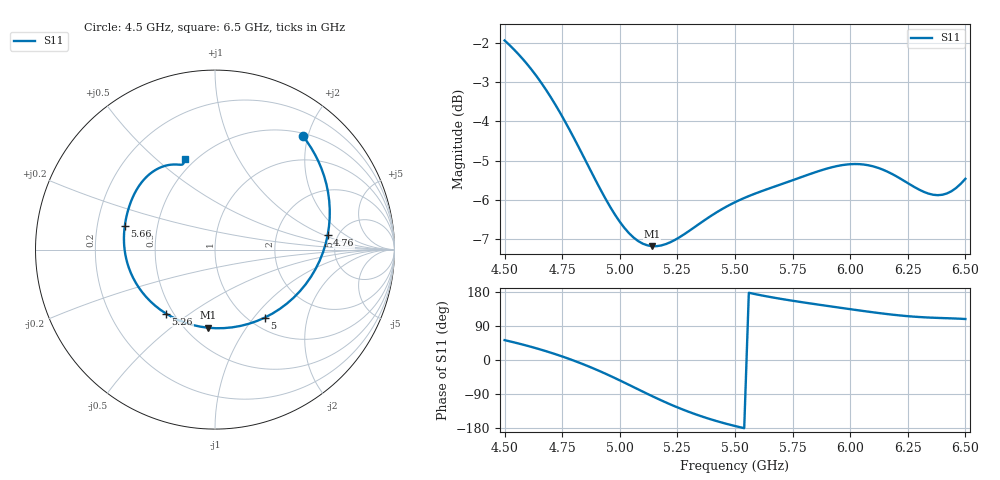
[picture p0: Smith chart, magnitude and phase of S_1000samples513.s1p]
! TOUCHSTONE file generated by CST MICROWAVE STUDIO
! Date and time: Fri Oct 28 10:30:23 2022
! Project name: L.cst
! Parameters = {Di=1.27; Epsilon_r=1.56; InnerDiameter=1.27; Length=2; Lf=10; Lg=60; OuterConductorThickness=0.2921; OuterDiameter=3.6; Wf=3; Wp=41.2; de=1.5; df=6.8; g=0.8; gx=2.95848; gy=0.876153; h=2.34; hf=1.524; px=12.895; py=10.3779; w=9.7; wx=9.93654; wy=9.50173}
! Header version: 2018
! Port assignment regex: !\s*Touchstone port\s*([0-9]+)\s*=\s*(CST MWS port|CST DS port)\s*([0-9]+|Zmin|Zmax)\s*\(\"(.*)\"\)(\s*mode\s*([0-9]+))?.*
! Touchstone port assignment:
! Touchstone port 1 = CST MWS port 1 ("")
# GHz S DB R 50
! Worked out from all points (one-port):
!   101 points, 4.5 GHz to 6.5 GHz, reference 50 ohm
!   lowest |S11| = -7.2 dB at 5.14 GHz (marker M1), VSWR 2.55, Z = 31.8 - j34.3 ohm
!   |S11| at or under -10 dB: nowhere
!   S11 on the Smith chart (normalised r, x): 4.5 GHz: 0.54, +1.91; 4.76 GHz: 4.14, +1.10; 5 GHz: 1.17, -1.14; 5.26 GHz: 0.46, -0.41; 5.66 GHz: 0.32, +0.11; 6.5 GHz: 0.44, +0.63
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4.5  -1.93 52.4
4.58  -2.41 40.5
4.64  -2.86 30.5
4.7  -3.38 19.4
4.76  -3.98 7.2
4.82  -4.64 -6.2
4.88  -5.33 -20.8
4.94  -6.00 -36.8
5  -6.57 -53.8
5.06  -6.97 -71.6
5.1  -7.13 -83.5
5.14  -7.19 -95.2
5.2  -7.14 -112.0
5.26  -6.96 -127.4
5.32  -6.72 -141.3
5.38  -6.48 -153.7
5.44  -6.25 -164.6
5.5  -6.07 -174.2
5.58  -5.86 174.8
5.66  -5.69 165.5
5.76  -5.48 155.4
5.88  -5.24 144.6
6  -5.09 134.1
6.12  -5.18 124.2
6.26  -5.61 115.2
6.32  -5.80 112.7
6.4  -5.87 110.7
6.5  -5.47 108.2
